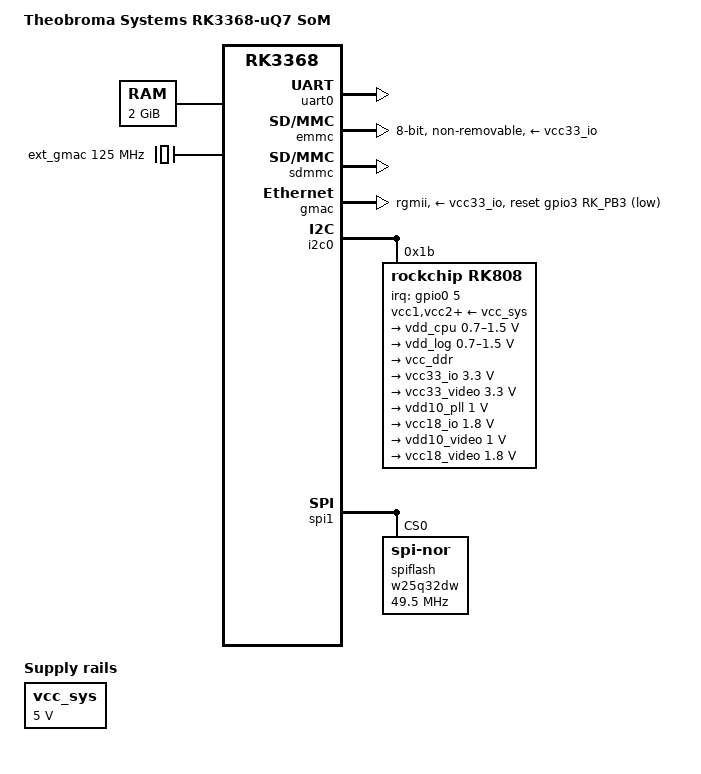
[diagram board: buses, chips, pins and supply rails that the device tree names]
// SPDX-License-Identifier: GPL-2.0+ OR X11
/*
 * (C) Copyright 2017 Theobroma Systems Design und Consulting GmbH
 */

/dts-v1/;
#include "rk3368.dtsi"
#include "rk3368-lion-u-boot.dtsi"
#include <dt-bindings/input/input.h>

/ {
	model = "Theobroma Systems RK3368-uQ7 SoM";
	compatible = "tsd,rk3368-uq7", "tsd,lion", "rockchip,rk3368";

	aliases {
		mmc0 = &emmc;
		mmc1 = &sdmmc;
	};

	memory@0 {
		device_type = "memory";
		reg = <0x0 0x0 0x0 0x80000000>;
	};

	ext_gmac: gmac-clk {
		compatible = "fixed-clock";
		clock-frequency = <125000000>;
		clock-output-names = "ext_gmac";
		#clock-cells = <0>;
	};

	vcc_sys: vcc-sys-regulator {
		compatible = "regulator-fixed";
		regulator-name = "vcc_sys";
		regulator-min-microvolt = <5000000>;
		regulator-max-microvolt = <5000000>;
		regulator-always-on;
		regulator-boot-on;
	};
};

&uart0 {
	status = "okay";
};

&emmc {
	status = "okay";
	bus-width = <8>;
	cap-mmc-highspeed;
	clock-frequency = <150000000>;
	disable-wp;
	keep-power-in-suspend;
	non-removable;
	num-slots = <1>;
	vmmc-supply = <&vcc33_io>;
	vqmmc-supply = <&vcc18_io>;
	pinctrl-names = "default";
	pinctrl-0 = <&emmc_clk>, <&emmc_cmd>, <&emmc_bus8>;
};

&sdmmc {
	status = "okay";
};

&gmac {
	status = "okay";
	phy-supply = <&vcc33_io>;
	phy-mode = "rgmii";
	clock_in_out = "input";
	snps,reset-gpio = <&gpio3 RK_PB3 GPIO_ACTIVE_LOW>;
	snps,reset-active-low;
	snps,reset-delays-us = <2 10000 50000>;
	assigned-clocks = <&cru SCLK_MAC>;
	assigned-clock-parents = <&ext_gmac>;
	pinctrl-names = "default";
	pinctrl-0 = <&rgmii_pins>;
	tx_delay = <0x10>;
	rx_delay = <0x10>;
};

&i2c0 {
	status = "okay";

	rk808: pmic@1b {
		compatible = "rockchip,rk808";
		reg = <0x1b>;
		interrupt-parent = <&gpio0>;
		interrupts = <5 IRQ_TYPE_LEVEL_LOW>;
		rockchip,system-power-controller;
		vcc1-supply = <&vcc_sys>;
		vcc2-supply = <&vcc_sys>;
		vcc3-supply = <&vcc_sys>;
		vcc4-supply = <&vcc_sys>;
		vcc6-supply = <&vcc_sys>;
		vcc7-supply = <&vcc_sys>;
		vcc8-supply = <&vcc_sys>;
		vcc9-supply = <&vcc_sys>;
		vcc10-supply = <&vcc_sys>;
		vcc11-supply = <&vcc_sys>;
		vcc12-supply = <&vcc_sys>;
		clock-output-names = "xin32k", "rk808-clkout2";
		#clock-cells = <1>;

		regulators {
			vdd_cpu: DCDC_REG1 {
				regulator-always-on;
				regulator-boot-on;
				regulator-min-microvolt = <700000>;
				regulator-max-microvolt = <1500000>;
				regulator-name = "vdd_cpu";
			};

			vdd_log: DCDC_REG2 {
				regulator-always-on;
				regulator-boot-on;
				regulator-min-microvolt = <700000>;
				regulator-max-microvolt = <1500000>;
				regulator-name = "vdd_log";
			};

			vcc_ddr: DCDC_REG3 {
				regulator-always-on;
				regulator-boot-on;
				regulator-name = "vcc_ddr";
			};

			vcc33_io: DCDC_REG4 {
				regulator-always-on;
				regulator-boot-on;
				regulator-min-microvolt = <3300000>;
				regulator-max-microvolt = <3300000>;
				regulator-name = "vcc33_io";
			};

			vcc33_video: LDO_REG2 {
				regulator-always-on;
				regulator-boot-on;
				regulator-min-microvolt = <3300000>;
				regulator-max-microvolt = <3300000>;
				regulator-name = "vcc33_video";
			};

			vdd10_pll: LDO_REG3 {
				regulator-always-on;
				regulator-boot-on;
				regulator-min-microvolt = <1000000>;
				regulator-max-microvolt = <1000000>;
				regulator-name = "vdd10_pll";
			};

			vcc18_io: LDO_REG4 {
				regulator-boot-on;
				regulator-min-microvolt = <1800000>;
				regulator-max-microvolt = <1800000>;
				regulator-name = "vcc18_io";
			};

			vdd10_video: LDO_REG6 {
				regulator-always-on;
				regulator-boot-on;
				regulator-min-microvolt = <1000000>;
				regulator-max-microvolt = <1000000>;
				regulator-name = "vdd10_video";
			};

			vcc18_video: LDO_REG8 {
				regulator-always-on;
				regulator-boot-on;
				regulator-min-microvolt = <1800000>;
				regulator-max-microvolt = <1800000>;
				regulator-name = "vcc18_video";
			};
		};
	};
};

&uart0 {
	status = "okay";
};

&spi1 {
	status = "okay";

	#address-cells = <1>;
	#size-cells = <0>;

	spiflash: w25q32dw@0 {
		compatible = "jedec,spi-nor";
		reg = <0>;
		spi-max-frequency = <49500000>;
		spi-cpol;
		spi-cpha;
	};
};
